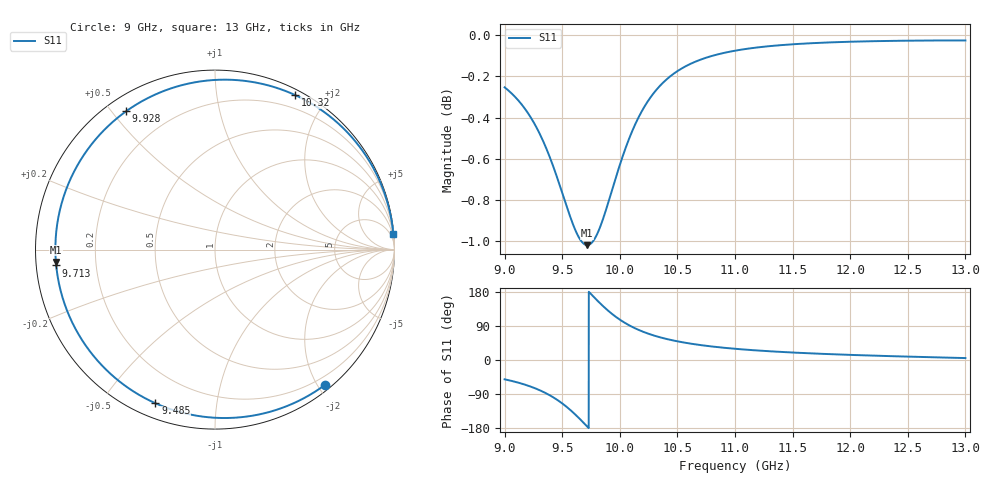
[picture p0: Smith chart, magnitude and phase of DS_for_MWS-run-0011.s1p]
! TOUCHSTONE file generated by CST DESIGN STUDIO
! Date and time: Tue Feb  4 17:08:22 2025
! Project name: C:\Work\MatlabApps\UnitCellOptimizationMatlab\CST\unitcell.cst
! Tree item: Tasks\Sweep1\SPara1\S-Parameters
! Header version: 2024
! Port assignment regex: !\s*Touchstone port\s*([0-9]+)\s*=\s*(CST MWS port|CST DES external port|CST DES block port)\s*(.+)\s* \(\"(.*)\"\)(\s*mode\s*([0-9]+))?.*
! Touchstone port assignment:
! Touchstone port 1 = CST DES external port 1 ("")
# GHz S MA R 50
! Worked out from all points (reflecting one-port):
!   4001 points, 9 GHz to 13 GHz, reference 50 ohm
!   lowest |S11| = -1.0 dB at 9.717 GHz (marker M1), VSWR 17.04, Z = 2.94 - j1.92 ohm
!   phase of S11 starts at -51 deg and turns -304 deg over the sweep
!   S11 on the Smith chart (normalised r, x): 9 GHz: 0.08, -2.10; 9.485 GHz: 0.06, -0.68; 9.713 GHz: 0.06, -0.05; 9.928 GHz: 0.06, +0.54; 10.32 GHz: 0.06, +1.64; 13 GHz: 1, +22
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9  0.9713 -51.0
9.133  0.9631 -61.0
9.257  0.9519 -73.7
9.386  0.935 -92.1
9.438  0.9265 -101.5
9.485  0.9183 -111.2
9.5  0.9156 -114.5
9.551  0.9065 -126.8
9.601  0.8985 -140.3
9.66  0.8916 -157.7
9.713  0.8892 -174.3
9.717  0.8892 -175.6
9.763  0.8908 169.8
9.81  0.8955 155.3
9.87  0.905 137.8
9.928  0.9161 122.7
10  0.9299 106.5
10.071  0.9422 93.3
10.156  0.9542 80.4
10.234  0.9628 70.9
10.318  0.9699 62.6
10.5  0.9801 49.3
10.718  0.9868 38.7
11  0.9914 29.6
11.5  0.9949 19.7
12  0.9964 13.5
12.5  0.9969 8.9
13  0.9971 5.1
